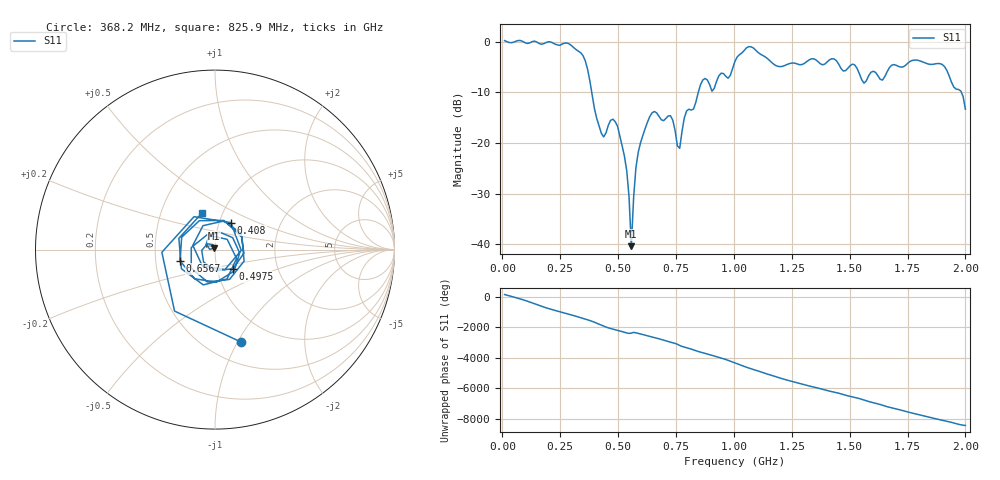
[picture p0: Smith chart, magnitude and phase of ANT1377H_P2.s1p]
!Created with skrf (http://scikit-rf.org).
# Hz S RI R 50.0
!freq ReS11 ImS11
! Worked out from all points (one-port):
!   201 points, 10 MHz to 2 GHz, reference 50 ohm
!   lowest |S11| = -40.4 dB at 557.2 MHz (marker M1), VSWR 1.02, Z = 49.4 + j0.72 ohm
!   |S11| at or under -10 dB: 386.1 MHz to 846.5 MHz (460.4 MHz wide, 74.7 % of centre); 1.982 GHz to end of sweep
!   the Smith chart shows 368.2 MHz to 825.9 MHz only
!   S11 on the Smith chart (normalised r, x): 368.2 MHz: 0.72, -1.03; 408 MHz: 1.14, +0.35; 497.6 MHz: 1.19, -0.26; 656.8 MHz: 0.67, -0.09; 825.9 MHz: 0.80, +0.34
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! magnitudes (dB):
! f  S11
! 10 MHz  0.2
! 258.8 MHz  -0.5
! 368.2 MHz  -5.4
! 408 MHz  -15.2
! 437.9 MHz  -18.8
! 467.7 MHz  -15.5
! 497.6 MHz  -16.7
! 507.5 MHz  -18.6
! 537.4 MHz  -25.4
! 547.3 MHz  -30.6
! 557.2 MHz  -40.4
! 567.2 MHz  -30.8
! 587.1 MHz  -21.8
! 656.8 MHz  -13.8
! 726.4 MHz  -14.6
! 756.2 MHz  -20.6
! 796 MHz  -13.7
! 825.9 MHz  -13.3
! 865.7 MHz  -7.6
! 905.5 MHz  -9.8
! 1.005 GHz  -3.9
! 1.065 GHz  -1.0
! 1.254 GHz  -4.2
! 1.502 GHz  -4.7
! 1.562 GHz  -8.2
! 1.751 GHz  -4.3
! 1.901 GHz  -4.5
! 2 GHz  -13.3
